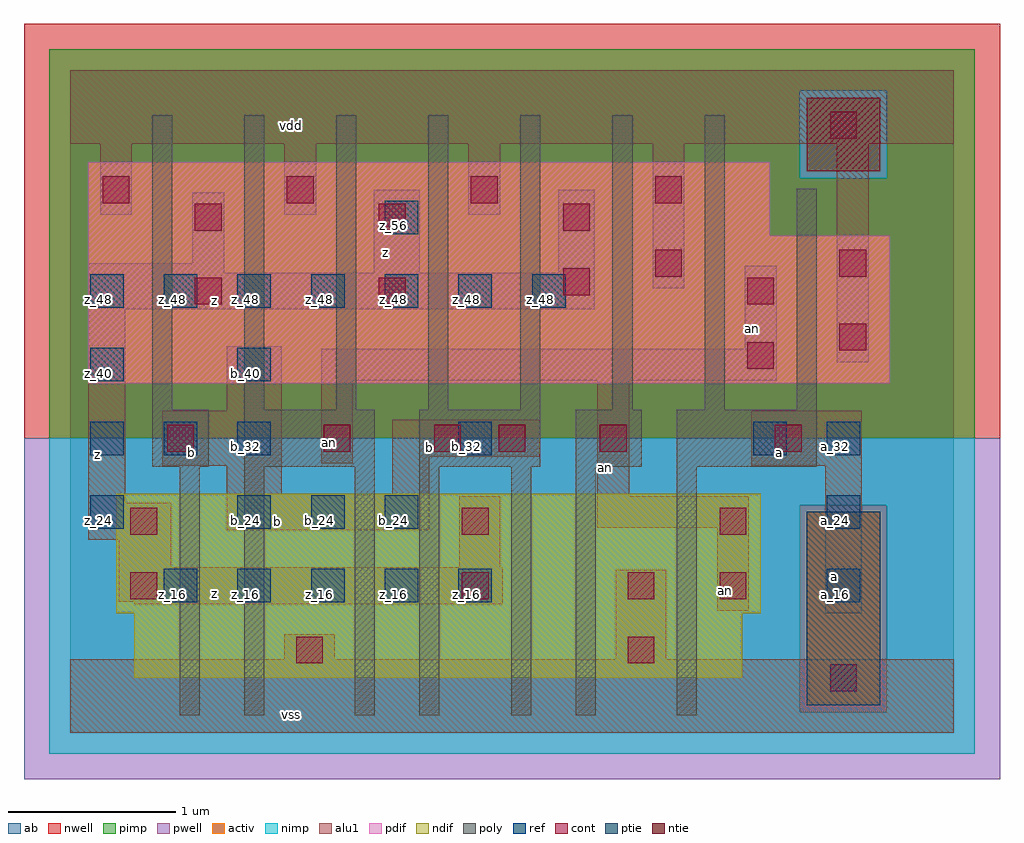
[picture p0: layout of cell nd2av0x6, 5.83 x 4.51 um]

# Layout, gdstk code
import gdstk
lib = gdstk.Library(unit=1e-6, precision=2.5e-09)
def R(c, l, rs):  # rectangles x0, y0, x1, y1
    for r in rs: c.add(gdstk.rectangle(r[:2], r[2:], *l))
def A(c, l, x, y, w, h, nx, ny, dx, dy):  # array of equal rectangles
    R(c, l, [(x+i*dx, y+j*dy, x+i*dx+w, y+j*dy+h) for i in range(nx) for j in range(ny)])
ndif = (3, 0)
pdif = (4, 0)
ntie = (5, 0)
ptie = (6, 0)
ref = (24, 0)
cont = (25, 0)
pwell = (41, 0)
nwell = (42, 0)
activ = (43, 0)
pimp = (44, 0)
nimp = (45, 0)
poly = (46, 0)
alu1 = (49, 0)
ab = (63, 0)

nd2av0x6 = lib.new_cell('nd2av0x6')
R(nd2av0x6, ndif, [(0.385,0.33,4.015,0.715), (0.275,0.715,4.125,1.43)])
R(nd2av0x6, pdif, [(0.11,2.09,4.895,2.97), (0.11,2.97,4.18,3.41)])
R(nd2av0x6, ntie, [(4.4,3.355,4.84,3.795)])
R(nd2av0x6, ptie, [(4.4,0.165,4.84,1.32)])
A(nd2av0x6, ref, 0.56, 0.78, 0.2, 0.2, 5, 1, 0.44, 0)
A(nd2av0x6, ref, 4.52, 0.78, 0.2, 0.2, 1, 3, 0, 0.44)
A(nd2av0x6, ref, 1, 1.22, 0.2, 0.2, 3, 1, 0.44, 0)
A(nd2av0x6, ref, 0.12, 1.66, 0.2, 0.2, 3, 1, 0.44, 0)
A(nd2av0x6, ref, 0.12, 2.54, 0.2, 0.2, 7, 1, 0.44, 0)
R(nd2av0x6, ref, [(0.12,1.22,0.32,1.42), (2.32,1.66,2.52,1.86), (4.08,1.66,4.28,1.86), (0.12,2.1,0.32,2.3), (1,2.1,1.2,2.3), (1.88,2.98,2.08,3.18)])
A(nd2av0x6, cont, 0.745, 3, 0.16, 0.16, 3, 1, 1.1, 0)
A(nd2av0x6, cont, 0.195, 3.165, 0.16, 0.16, 4, 1, 1.1, 0)
R(nd2av0x6, cont, [(4.54,0.25,4.7,0.41), (1.35,0.415,1.51,0.575), (3.33,0.415,3.49,0.575), (0.36,0.8,0.52,0.96), (2.34,0.8,2.5,0.96), (3.33,0.8,3.49,0.96), (3.88,0.8,4.04,0.96), (0.36,1.185,0.52,1.345), (2.34,1.185,2.5,1.345), (3.88,1.185,4.04,1.345), (0.58,1.68,0.74,1.84), (1.515,1.68,1.675,1.84), (2.175,1.68,2.335,1.84), (2.56,1.68,2.72,1.84), (3.165,1.68,3.325,1.84), (4.21,1.68,4.37,1.84), (4.045,2.175,4.205,2.335), (4.595,2.285,4.755,2.445), (0.745,2.56,0.905,2.72), (1.845,2.56,2.005,2.72), (4.045,2.56,4.205,2.72), (2.945,2.615,3.105,2.775), (3.495,2.725,3.655,2.885), (4.595,2.725,4.755,2.885), (4.54,3.55,4.7,3.71)])
R(nd2av0x6, pwell, [(-0.275,-0.275,5.555,1.76)])
R(nd2av0x6, nwell, [(-0.275,1.76,5.555,4.235)])
R(nd2av0x6, activ, [(4.4,0.165,4.84,1.32), (0.385,0.33,4.015,0.715), (0.275,0.715,4.125,1.43), (0.11,2.09,4.895,2.97), (0.11,2.97,4.18,3.41), (4.4,3.355,4.84,3.795)])
R(nd2av0x6, pimp, [(4.36,0.125,4.88,1.36), (-0.125,1.76,5.405,3.315), (-0.125,3.315,4.36,3.835), (4.88,3.315,5.405,3.835), (-0.125,3.835,5.405,4.085)])
R(nd2av0x6, nimp, [(-0.125,-0.125,5.405,0.125), (-0.125,0.125,4.36,1.36), (4.88,0.125,5.405,1.36), (-0.125,1.36,5.405,1.76), (4.36,3.315,4.88,3.835)])
A(nd2av0x6, poly, 0.49, 1.93, 0.12, 1.76, 7, 1, 0.55, 0)
R(nd2av0x6, poly, [(0.655,0.105,0.775,1.59), (1.04,0.105,1.16,1.59), (1.7,0.105,1.82,1.59), (2.085,0.105,2.205,1.59), (2.635,0.105,2.755,1.59), (3.02,0.105,3.14,1.59), (3.625,0.105,3.745,1.59), (0.49,1.59,0.83,1.93), (1.04,1.59,1.82,1.93), (2.085,1.59,2.81,1.93), (3.02,1.59,3.415,1.93), (3.625,1.59,4.46,1.93), (4.34,1.93,4.46,3.25)])
A(nd2av0x6, alu1, 0.18, 3.095, 0.19, 0.425, 3, 1, 1.1, 0)
R(nd2av0x6, alu1, [(0,0,5.28,0.44), (1.28,0.44,1.58,0.59), (3.26,0.44,3.56,0.975), (4.51,0.715,4.73,1.595), (3.865,0.73,4.055,1.225), (0.385,0.77,2.585,0.785), (0.29,0.785,2.585,0.99), (0.29,0.99,0.605,1.155), (2.325,0.99,2.57,1.415), (0.11,1.155,0.605,1.375), (0.935,1.21,2.145,1.43), (3.15,1.225,4.055,1.415), (0.11,1.375,0.33,2.53), (3.15,1.415,3.34,2.105), (0.935,1.43,1.265,1.595), (1.925,1.43,2.145,1.65), (0.55,1.595,1.265,1.925), (4.07,1.595,4.73,1.925), (1.5,1.61,1.69,2.105), (1.925,1.65,2.805,1.87), (0.935,1.925,1.265,2.31), (1.5,2.105,4.22,2.295), (4.58,2.215,4.77,3.52), (4.03,2.295,4.22,2.79), (0.11,2.53,3.135,2.75), (3.48,2.655,3.67,3.52), (0.11,2.75,0.92,2.805), (1.815,2.75,2.09,3.245), (2.915,2.75,3.135,3.245), (0.73,2.805,0.92,3.23), (0,3.52,5.28,3.96)])
R(nd2av0x6, ab, [(0,0,5.28,3.96)])
nd2av0x6.add(gdstk.Label('vss', (1.32,0.11), layer=49, texttype=0))
nd2av0x6.add(gdstk.Label('a', (4.565,0.935), layer=49, texttype=0))
nd2av0x6.add(gdstk.Label('an', (3.9125,0.8525), layer=49, texttype=0))
nd2av0x6.add(gdstk.Label('z', (0.8625,0.835), layer=49, texttype=0))
nd2av0x6.add(gdstk.Label('a', (4.235,1.6775), layer=49, texttype=0))
nd2av0x6.add(gdstk.Label('an', (3.1975,1.5875), layer=49, texttype=0))
nd2av0x6.add(gdstk.Label('b', (1.2375,1.265), layer=49, texttype=0))
nd2av0x6.add(gdstk.Label('b', (2.145,1.705), layer=49, texttype=0))
nd2av0x6.add(gdstk.Label('an', (1.5475,1.7325), layer=49, texttype=0))
nd2av0x6.add(gdstk.Label('b', (0.7275,1.6775), layer=49, texttype=0))
nd2av0x6.add(gdstk.Label('an', (4.0775,2.4175), layer=49, texttype=0))
nd2av0x6.add(gdstk.Label('z', (0.165,1.6625), layer=49, texttype=0))
nd2av0x6.add(gdstk.Label('z', (0.865,2.585), layer=49, texttype=0))
nd2av0x6.add(gdstk.Label('z', (1.8825,2.8725), layer=49, texttype=0))
nd2av0x6.add(gdstk.Label('vdd', (1.32,3.63), layer=49, texttype=0))
nd2av0x6.add(gdstk.Label('z_16', (0.61,0.83), layer=24, texttype=0))
nd2av0x6.add(gdstk.Label('b_32', (0.61,1.71), layer=24, texttype=0))
nd2av0x6.add(gdstk.Label('z_48', (0.61,2.59), layer=24, texttype=0))
nd2av0x6.add(gdstk.Label('z_16', (1.05,0.83), layer=24, texttype=0))
nd2av0x6.add(gdstk.Label('b_24', (1.05,1.27), layer=24, texttype=0))
nd2av0x6.add(gdstk.Label('b_32', (1.05,1.71), layer=24, texttype=0))
nd2av0x6.add(gdstk.Label('b_40', (1.05,2.15), layer=24, texttype=0))
nd2av0x6.add(gdstk.Label('z_48', (1.05,2.59), layer=24, texttype=0))
nd2av0x6.add(gdstk.Label('z_16', (1.49,0.83), layer=24, texttype=0))
nd2av0x6.add(gdstk.Label('b_24', (1.49,1.27), layer=24, texttype=0))
nd2av0x6.add(gdstk.Label('z_48', (1.49,2.59), layer=24, texttype=0))
nd2av0x6.add(gdstk.Label('z_16', (1.93,0.83), layer=24, texttype=0))
nd2av0x6.add(gdstk.Label('b_24', (1.93,1.27), layer=24, texttype=0))
nd2av0x6.add(gdstk.Label('z_48', (1.93,2.59), layer=24, texttype=0))
nd2av0x6.add(gdstk.Label('z_56', (1.93,3.03), layer=24, texttype=0))
nd2av0x6.add(gdstk.Label('z_24', (0.17,1.27), layer=24, texttype=0))
nd2av0x6.add(gdstk.Label('z_32', (0.17,1.71), layer=24, texttype=0))
nd2av0x6.add(gdstk.Label('z_40', (0.17,2.15), layer=24, texttype=0))
nd2av0x6.add(gdstk.Label('z_48', (0.17,2.59), layer=24, texttype=0))
nd2av0x6.add(gdstk.Label('z_16', (2.37,0.83), layer=24, texttype=0))
nd2av0x6.add(gdstk.Label('b_32', (2.37,1.71), layer=24, texttype=0))
nd2av0x6.add(gdstk.Label('z_48', (2.37,2.59), layer=24, texttype=0))
nd2av0x6.add(gdstk.Label('z_48', (2.81,2.59), layer=24, texttype=0))
nd2av0x6.add(gdstk.Label('a_32', (4.13,1.71), layer=24, texttype=0))
nd2av0x6.add(gdstk.Label('a_16', (4.57,0.83), layer=24, texttype=0))
nd2av0x6.add(gdstk.Label('a_24', (4.57,1.27), layer=24, texttype=0))
nd2av0x6.add(gdstk.Label('a_32', (4.57,1.71), layer=24, texttype=0))

lib.write_gds('nd2av0x6.gds')
